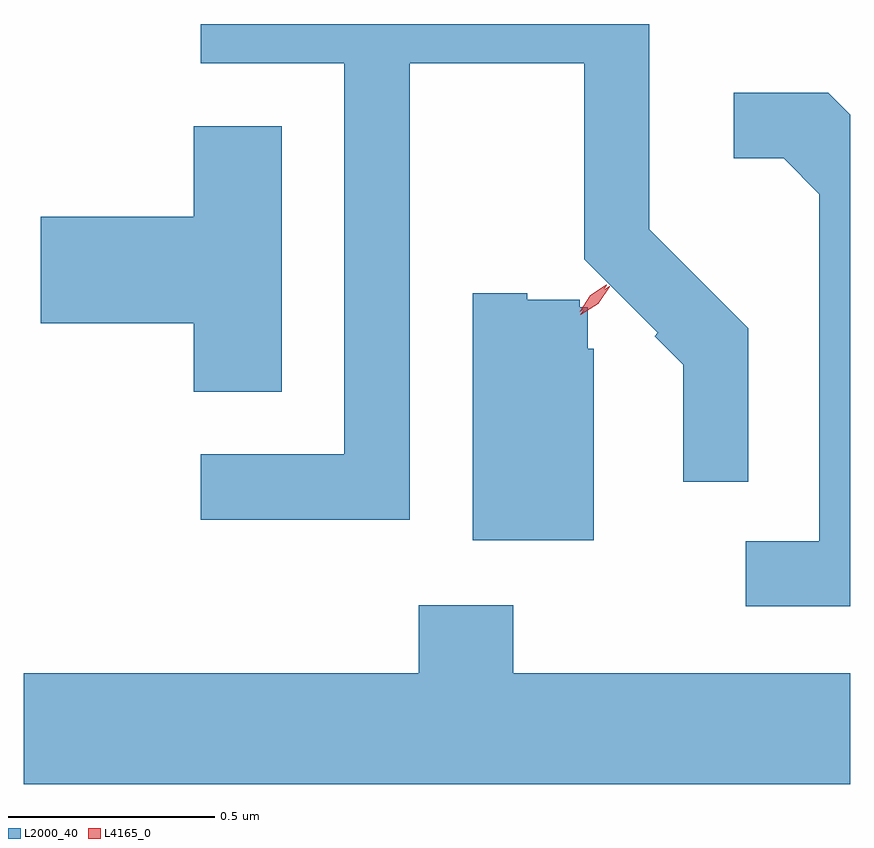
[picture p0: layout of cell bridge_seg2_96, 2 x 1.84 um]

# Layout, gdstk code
import gdstk
lib = gdstk.Library(unit=1e-6, precision=1e-09)
def P(c, l, *ps):  # polygons
    for p in ps: c.add(gdstk.Polygon(p, *l))
L2000_40 = (2000, 40)
L4165_0 = (4165, 0)

bridge_seg2_96 = lib.new_cell('bridge_seg2_96')
P(bridge_seg2_96, L2000_40, [(1245.899,990.121),(1246.321,990.121),(1246.321,989.647),(1246.5,989.468),(1246.492,989.46),(1246.561,989.391),(1246.561,989.108),(1246.719,989.108),(1246.719,989.479),(1246.479,989.719),(1246.479,990.216),(1245.393,990.216),(1245.393,990.121),(1245.741,990.121),(1245.741,989.174),(1245.393,989.174),(1245.393,989.016),(1245.899,989.016)],
  [(1246.965,989.996),(1246.912,990.049),(1246.683,990.049),(1246.683,989.891),(1246.804,989.891),(1246.891,989.804),(1246.891,988.964),(1246.713,988.964),(1246.713,988.806),(1246.965,988.806)],
  [(1245.589,989.969),(1245.376,989.969),(1245.376,989.749),(1245.006,989.749),(1245.006,989.491),(1245.376,989.491),(1245.376,989.326),(1245.589,989.326)],
  [(1246.344,989.43),(1246.33,989.43),(1246.33,989.53),(1246.31,989.53),(1246.31,989.548),(1246.183,989.548),(1246.183,989.564),(1246.051,989.564),(1246.051,988.966),(1246.344,988.966)],
  [(1246.965,988.644),(1246.149,988.644),(1246.149,988.809),(1245.921,988.809),(1245.921,988.644),(1244.965,988.644),(1244.965,988.376),(1246.965,988.376)])
P(bridge_seg2_96, L4165_0, [(1246.312,989.512),(1246.312,989.512),(1246.341,989.553),(1246.382,989.581),(1246.383,989.581),(1246.383,989.58),(1246.355,989.539),(1246.313,989.512)],
  [(1246.31,989.519),(1246.31,989.519),(1246.336,989.559),(1246.375,989.585),(1246.376,989.585),(1246.376,989.584),(1246.35,989.545),(1246.311,989.519)])

lib.write_gds('bridge_seg2_96.gds')
